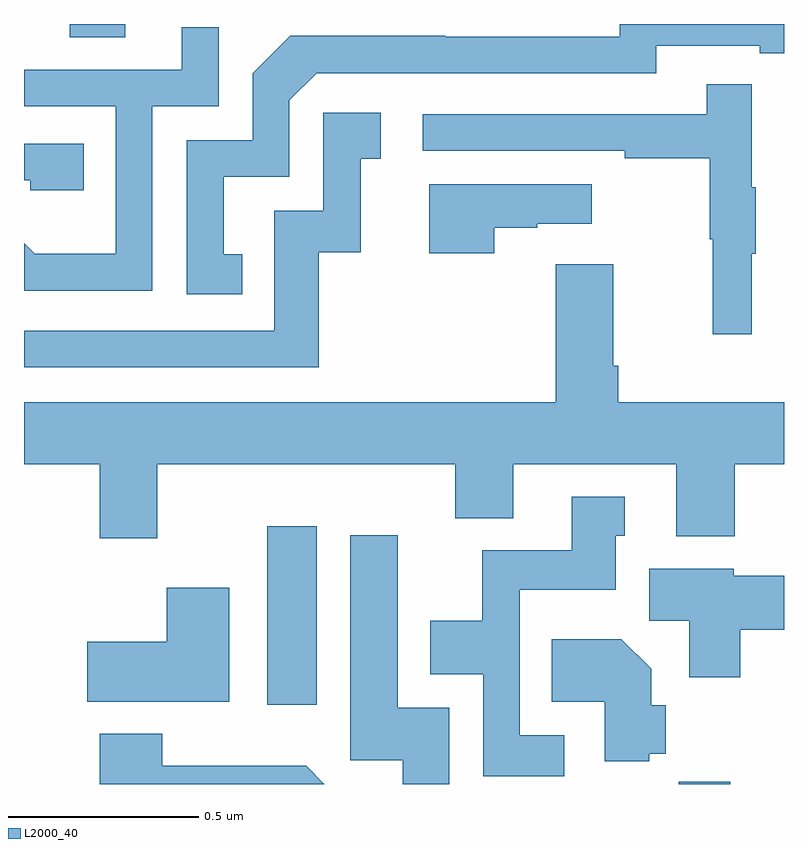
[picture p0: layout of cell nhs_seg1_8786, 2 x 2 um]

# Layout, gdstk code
import gdstk
lib = gdstk.Library(unit=1e-6, precision=1e-09)
def R(c, l, rs):  # rectangles x0, y0, x1, y1
    for r in rs: c.add(gdstk.rectangle(r[:2], r[2:], *l))
def P(c, l, *ps):  # polygons
    for p in ps: c.add(gdstk.Polygon(p, *l))
L2000_40 = (2000, 40)

nhs_seg1_8786 = lib.new_cell('nhs_seg1_8786')
R(nhs_seg1_8786, L2000_40, [(221.723,576.199,221.858,576.205), (220.64,576.408,220.771,576.877), (220.12,578.164,220.267,578.199)])
P(nhs_seg1_8786, L2000_40, [(220.574,577.593),(220.525,577.593),(220.525,577.797),(220.698,577.797),(220.698,577.998),(220.77,578.07),(221.664,578.07),(221.664,578.142),(221.936,578.142),(221.936,578.122),(222,578.122),(222,578.199),(221.568,578.199),(221.568,578.166),(221.108,578.166),(221.108,578.168),(220.7,578.168),(220.602,578.07),(220.602,577.893),(220.428,577.893),(220.428,577.488),(220.574,577.488)],
  [(220.338,577.983),(220.512,577.983),(220.512,578.191),(220.415,578.191),(220.415,578.079),(220,578.079),(220,577.983),(220.242,577.983),(220.242,577.594),(220.028,577.594),(220,577.622),(220,577.497),(220.338,577.497)],
  [(221.915,577.595),(221.926,577.595),(221.926,577.769),(221.915,577.769),(221.915,578.041),(221.797,578.041),(221.797,577.962),(221.049,577.962),(221.049,577.866),(221.581,577.866),(221.581,577.846),(221.805,577.846),(221.805,577.632),(221.812,577.632),(221.812,577.383),(221.915,577.383)],
  [(220.775,577.599),(220.886,577.599),(220.886,577.845),(220.939,577.845),(220.939,577.966),(220.788,577.966),(220.788,577.707),(220.659,577.707),(220.659,577.392),(220,577.392),(220,577.296),(220.775,577.296)],
  [(220.157,577.884),(220,577.884),(220,577.788),(220.017,577.788),(220.017,577.761),(220.157,577.761)],
  [(221.237,577.663),(221.351,577.663),(221.351,577.673),(221.494,577.673),(221.494,577.777),(221.066,577.777),(221.066,577.596),(221.237,577.596)],
  [(220.351,577.04),(221.135,577.04),(221.135,576.899),(221.287,576.899),(221.287,577.04),(221.717,577.04),(221.717,576.851),(221.87,576.851),(221.87,577.04),(222,577.04),(222,577.204),(221.564,577.204),(221.564,577.3),(221.551,577.3),(221.551,577.567),(221.399,577.567),(221.399,577.204),(220,577.204),(220,577.04),(220.199,577.04),(220.199,576.846),(220.351,576.846)],
  [(221.422,576.327),(221.304,576.327),(221.304,576.71),(221.557,576.71),(221.557,576.852),(221.581,576.852),(221.581,576.955),(221.441,576.955),(221.441,576.814),(221.206,576.814),(221.206,576.628),(221.069,576.628),(221.069,576.488),(221.208,576.488),(221.208,576.219),(221.422,576.219)],
  [(221.119,576.4),(220.984,576.4),(220.984,576.853),(220.859,576.853),(220.859,576.261),(220.997,576.261),(220.997,576.199),(221.119,576.199)],
  [(221.885,576.605),(222,576.605),(222,576.747),(221.868,576.747),(221.868,576.766),(221.645,576.766),(221.645,576.628),(221.75,576.628),(221.75,576.48),(221.885,576.48)],
  [(220.54,576.715),(220.376,576.715),(220.376,576.574),(220.167,576.574),(220.167,576.416),(220.54,576.416)],
  [(221.646,576.278),(221.689,576.278),(221.689,576.406),(221.65,576.406),(221.65,576.502),(221.572,576.58),(221.389,576.58),(221.389,576.416),(221.528,576.416),(221.528,576.259),(221.646,576.259)],
  [(220.743,576.247),(220.364,576.247),(220.364,576.331),(220.199,576.331),(220.199,576.199),(220.79,576.199)])

lib.write_gds('nhs_seg1_8786.gds')
